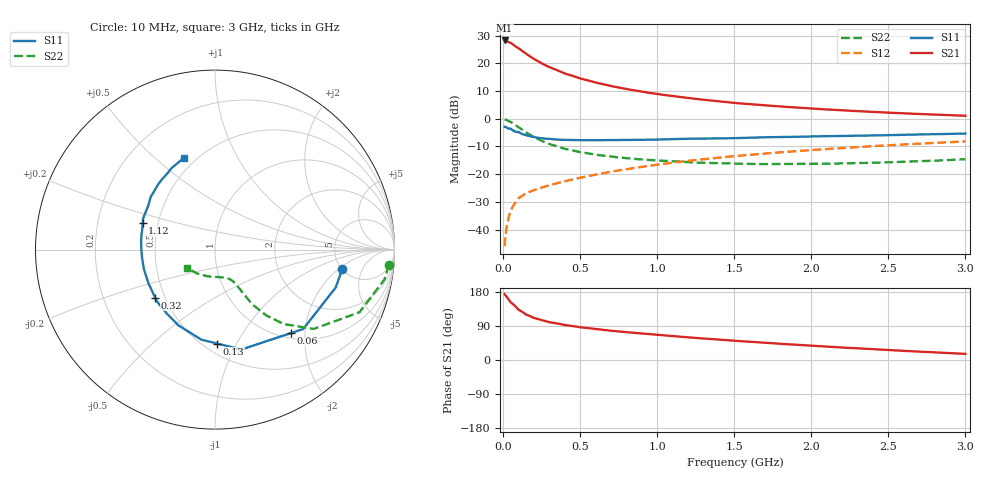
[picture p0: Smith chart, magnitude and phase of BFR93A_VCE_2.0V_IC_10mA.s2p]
! Infineon Technologies  Discrete & RF Semiconductors
! BFR93A
! VCE =  2.0 V,  IC =  10 mA
! Common Emitter S-Parameters:  Nov 2015
# GHz  S  MA  R  50
!  f  S11  S21  S12  S22
! GHz  MAG  ANG  MAG  ANG  MAG  ANG  MAG  ANG
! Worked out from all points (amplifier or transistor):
!   180 points, 10 MHz to 3 GHz, reference 50 ohm
!   highest |S21| = 28.3 dB at 10 MHz (marker M1)
!   |S21| within 3 dB of that: start of sweep to 104.9 MHz
!   unconditionally stable (mu >= 1): 553 MHz to end of sweep
!   at 160 MHz: K = 0.52, MSG = 24.9 dB, |S12| = -26.7 dB
!   at 1.22 GHz: K = 1.10, MAG = 9.3 dB, |S12| = -15.1 dB
!   at 3 GHz: K = 1.00, MAG = 4.4 dB, |S12| = -8.2 dB
!   S11 on the Smith chart (normalised r, x): 10 MHz: 5.01, -2.26; 60 MHz: 1.10, -1.69; 130 MHz: 0.58, -0.84; 320 MHz: 0.44, -0.29; 1.12 GHz: 0.41, +0.15; 3 GHz: 0.43, +0.62
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0.01  0.7169 -8.8  25.95 173.8  0.005 85.0  0.9727 -5.1
0.02  0.7049 -17.4  25.57 168.0  0.0096 81.4  0.9588 -10.0
0.05  0.6613 -42.0  23.44 152.1  0.0222 71.3  0.8777 -23.4
0.06  0.6286 -47.8  22.33 148.9  0.025 68.0  0.839 -26.0
0.1  0.5757 -75.2  18.79 132.7  0.0366 60.1  0.7053 -38.8
0.13  0.5237 -88.6  16.31 125.7  0.0417 56.9  0.6188 -43.4
0.15  0.5073 -98.7  14.82 119.7  0.0451 55.2  0.5639 -47.3
0.2  0.4686 -115.9  12.03 111.0  0.0516 53.9  0.4665 -52.0
0.24  0.4468 -126.4  10.41 106.1  0.0561 53.7  0.4119 -54.0
0.26  0.4408 -130.9  9.721 103.8  0.0583 53.8  0.3886 -54.9
0.3  0.4335 -138.3  8.554 99.8  0.0628 54.6  0.3501 -56.1
0.32  0.4276 -141.2  8.151 98.6  0.0651 55.1  0.3374 -56.3
0.4  0.4155 -153.4  6.586 92.2  0.0743 56.7  0.2866 -57.4
0.52  0.4098 -166.3  5.188 85.7  0.0883 58.3  0.2446 -58.2
0.7  0.4102 -179.5  3.903 77.2  0.1105 59.7  0.2073 -60.1
0.86  0.4154 171.5  3.224 71.4  0.1303 60.1  0.1877 -62.8
1.02  0.422 163.7  2.751 65.7  0.1507 59.8  0.1753 -66.2
1.12  0.4294 159.8  2.529 62.4  0.1634 59.3  0.1693 -69.3
1.52  0.4478 145.6  1.912 50.4  0.2133 56.4  0.1541 -83.2
2.02  0.4809 131.6  1.517 37.4  0.2744 51.6  0.1534 -103.3
2.52  0.5077 119.9  1.283 26.0  0.3343 45.6  0.1643 -124.7
3  0.5404 108.7  1.132 16.2  0.3895 39.4  0.1862 -146.8
